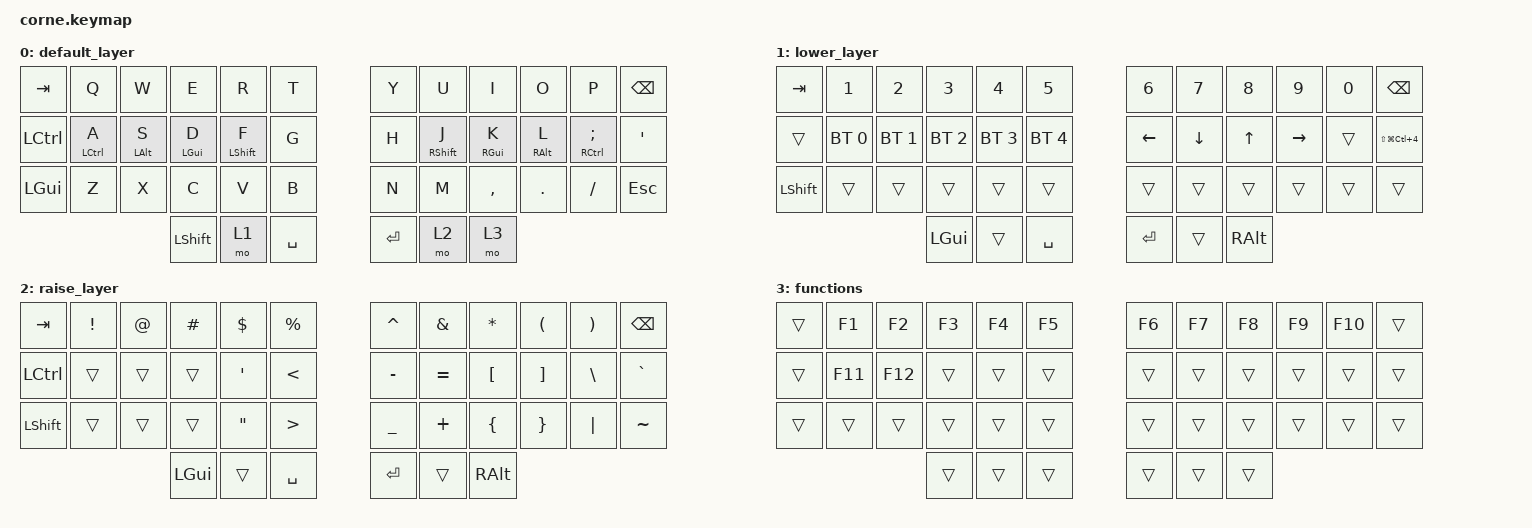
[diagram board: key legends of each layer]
/*
 * Copyright (c) 2020 The ZMK Contributors
 *
 * SPDX-License-Identifier: MIT
 */

#include <behaviors.dtsi>
#include <dt-bindings/zmk/bt.h>
#include <dt-bindings/zmk/keys.h>

/ {
    combos {
        compatible = "zmk,combos";

        clear_bt {
            bindings = <&bt BT_CLR>;
            key-positions = <12 17>;
            layers = <1>;
        };

        clear_all_bt {
            bindings = <&bt BT_CLR_ALL>;
            key-positions = <13 14 15 16>;
            layers = <1>;
        };

        dash {
            bindings = <&kp MINUS>;
            key-positions = <19 20>;
        };

        underscore {
            bindings = <&kp LS(MINUS)>;
            key-positions = <31 32>;
        };

        cycle_window_right {
            bindings = <&kp LG(GRAVE)>;
            key-positions = <17 23>;
            layers = <0>;
        };

        cycle_window_left {
            bindings = <&kp LG(TILDE)>;
            key-positions = <12 18>;
            layers = <0>;
        };
    };

    behaviors {
        hrm: hrm {
            compatible = "zmk,behavior-hold-tap";
            label = "HRM";
            bindings = <&kp>, <&kp>;

            #binding-cells = <2>;
            tapping-term-ms = <280>;
            quick-tap-ms = <125>;
            flavor = "balanced";
        };
    };

    keymap {
        compatible = "zmk,keymap";

        default_layer {
            // -----------------------------------------------------------------------------------------
            // |  TAB |  Q  |  W  |  E  |  R  |  T  |   |  Y  |  U   |  I  |  O  |  P  | BKSP |
            // | CTRL |  A  |  S  |  D  |  F  |  G  |   |  H  |  J   |  K  |  L  |  ;  |  '   |
            // | SHFT |  Z  |  X  |  C  |  V  |  B  |   |  N  |  M   |  ,  |  .  |  /  | ESC  |
            //                    | GUI | LWR | SPC |   | ENT | RSE  | ALT |

            bindings = <
&kp TAB       &kp Q         &kp W            &kp E            &kp R              &kp T        &kp Y    &kp U               &kp I        &kp O        &kp P                         &kp BSPC
&kp LCTRL     &hrm LCTRL A  &hrm LEFT_ALT S  &hrm LEFT_GUI D  &hrm LEFT_SHIFT F  &kp G        &kp H    &hrm RIGHT_SHIFT J  &hrm RGUI K  &hrm RALT L  &hrm RIGHT_CONTROL SEMICOLON  &kp SQT
&kp LEFT_GUI  &kp Z         &kp X            &kp C            &kp V              &kp B        &kp N    &kp M               &kp COMMA    &kp DOT      &kp FSLH                      &kp ESC
                                             &kp LEFT_SHIFT   &mo 1              &kp SPACE    &kp RET  &mo 2               &mo 3
            >;
        };

        lower_layer {
            // -----------------------------------------------------------------------------------------
            // |  TAB |  1  |  2  |  3  |  4  |  5  |   |  6  |  7  |  8  |  9  |  0  | BKSP |
            // | BTCLR| BT1 | BT2 | BT3 | BT4 | BT5 |   | LFT | DWN |  UP | RGT |     |      |
            // | SHFT |     |     |     |     |     |   |     |     |     |     |     |      |
            //                    | GUI |     | SPC |   | ENT |     | ALT |

            bindings = <
&kp TAB    &kp N1        &kp N2        &kp N3        &kp N4        &kp N5          &kp N6    &kp N7    &kp N8    &kp N9     &kp N0  &kp BSPC
&trans     &bt BT_SEL 0  &bt BT_SEL 1  &bt BT_SEL 2  &bt BT_SEL 3  &bt BT_SEL 4    &kp LEFT  &kp DOWN  &kp UP    &kp RIGHT  &trans  &kp LS(LG(LC(NUMBER_4)))
&kp LSHFT  &trans        &trans        &trans        &trans        &trans          &trans    &trans    &trans    &trans     &trans  &trans
                                       &kp LGUI      &trans        &kp SPACE       &kp RET   &trans    &kp RALT
            >;
        };

        raise_layer {
            // -----------------------------------------------------------------------------------------
            // |  TAB |  !  |  @  |  #  |  $  |  %  |   |  ^  |  &  |  *  |  (  |  )  | BKSP |
            // | CTRL |     |     |     |     |     |   |  -  |  =  |  [  |  ]  |  \  |  `   |
            // | SHFT |     |     |     |     |     |   |  _  |  +  |  {  |  }  | "|" |  ~   |
            //                    | GUI |     | SPC |   | ENT |     | ALT |

            bindings = <
&kp TAB    &kp EXCL  &kp AT  &kp HASH  &kp DLLR           &kp PRCNT           &kp CARET  &kp AMPS   &kp ASTRK  &kp LPAR  &kp RPAR  &kp BSPC
&kp LCTRL  &trans    &trans  &trans    &kp SQT            &kp LESS_THAN       &kp MINUS  &kp EQUAL  &kp LBKT   &kp RBKT  &kp BSLH  &kp GRAVE
&kp LSHFT  &trans    &trans  &trans    &kp DOUBLE_QUOTES  &kp GREATER_THAN    &kp UNDER  &kp PLUS   &kp LBRC   &kp RBRC  &kp PIPE  &kp TILDE
                             &kp LGUI  &trans             &kp SPACE           &kp RET    &trans     &kp RALT
            >;
        };

        functions {
            bindings = <
&trans  &kp F1   &kp F2   &kp F3  &kp F4  &kp F5    &kp F6  &kp F7  &kp F8  &kp F9  &kp F10  &trans
&trans  &kp F11  &kp F12  &trans  &trans  &trans    &trans  &trans  &trans  &trans  &trans   &trans
&trans  &trans   &trans   &trans  &trans  &trans    &trans  &trans  &trans  &trans  &trans   &trans
                          &trans  &trans  &trans    &trans  &trans  &trans
            >;
        };
    };
};
